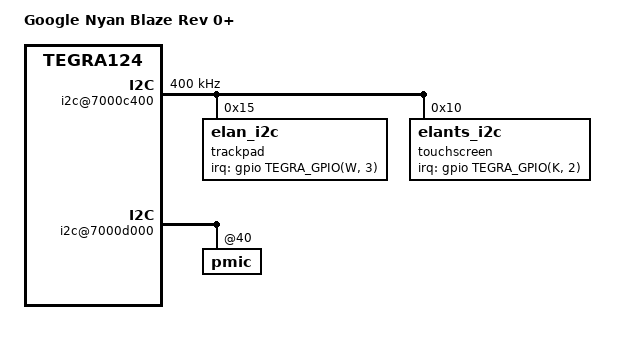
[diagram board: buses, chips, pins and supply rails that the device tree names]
/dts-v1/;

#include "tegra124.dtsi"
#include "tegra124-nyan.dtsi"
#include "tegra124-nyan-blaze-emc.dtsi"

/ {
	model = "Google Nyan Blaze Rev 0+";

	compatible = "google,nyan-blaze-rev5", "google,nyan-blaze-rev4",
			"google,nyan-blaze-rev3", "google,nyan-blaze-rev2",
			"google,nyan-blaze-rev1", "google,nyan-blaze-rev0",
			"google,nyan", "nvidia,tegra124";

	host1x@50000000 {
		dc@54200000 {
			depth = <18>;
			width = <256>;
			height = <144>;
			power-off-time = <500>;
			pwm-to-bl-on = <10>;
			bl-off-to-pwm = <10>;
			drive-current = <0x19191919>;
			preemphasis = <0x09090909>;
		};
	};

	pinmux {
		pinmux@0 {
			hp_det_l {
				nvidia,pins = "pi7";
				nvidia,function = "rsvd1";
				nvidia,pull = <TEGRA_PIN_PULL_NONE>;
				nvidia,tristate = <TEGRA_PIN_DISABLE>;
				nvidia,enable-input = <TEGRA_PIN_ENABLE>;
			};
			soc_warm_reset_l {
				nvidia,pins = "pi5";
				nvidia,function = "gmi";
				nvidia,pull = <TEGRA_PIN_PULL_UP>;
				nvidia,tristate = <TEGRA_PIN_DISABLE>;
				nvidia,enable-input = <TEGRA_PIN_DISABLE>;
			};
			modem_en {
				nvidia,pins = "kb_row12_ps4";
				nvidia,function = "rsvd2";
				nvidia,pull = <TEGRA_PIN_PULL_UP>;
				nvidia,tristate = <TEGRA_PIN_DISABLE>;
				nvidia,enable-input = <TEGRA_PIN_DISABLE>;
			};
			modem_reset {
				nvidia,pins = "kb_row11_ps3";
				nvidia,function = "rsvd2";
				nvidia,pull = <TEGRA_PIN_PULL_UP>;
				nvidia,tristate = <TEGRA_PIN_DISABLE>;
				nvidia,enable-input = <TEGRA_PIN_DISABLE>;
			};
		};
	};

	i2c@7000c400 {
		clock-frequency = <400000>;

		trackpad@15 {
			compatible = "elan_i2c";
			reg = <0x15>;
			interrupt-parent = <&gpio>;
			interrupts = <TEGRA_GPIO(W, 3) GPIO_ACTIVE_HIGH>;
			nvidia,pmc-wakeup = <&pmc 1 11 2>;
			wakeup-source;
		};
		touchscreen {
			compatible = "elants_i2c";
			reg = <0x10>;
			interrupt-parent = <&gpio>;
			interrupts = <TEGRA_GPIO(K, 2) GPIO_ACTIVE_HIGH>;
		};
	};

	i2c@7000d000 {
		pmic@40 {
			ams,sd6-adc-ch = <AS3722_TEMP1_SD6>;
			pinctrl@0 {
				gpio6 {
					pins = "gpio6";
					function = "clk32k-out";
					bias-pull-down;
				};
			};
		};
	};

	phy@7009f000 {
		nvidia,xusb-hs-xcvr-setup-offset = <0x020004>;
	};

	sdhci@700b0000 {
		trim-delay = <0x2>;
		calib-3v3-offsets = <0x7676>;
		calib-1v8-offsets = <0x7676>;
		calib-1v8-offsets-uhs-modes = <0x2f>;
		max-frequency = <204000000>;
	};

	sdhci@700b0400 {
		cd-inverted;
		trim-delay = <0x3>;
		calib-3v3-offsets = <0x7676>;
		calib-1v8-offsets = <0x7676>;
		calib-1v8-offsets-uhs-modes = <0x2f>;
		max-frequency = <204000000>;
	};

	sdhci@700b0600 {
		trim-delay = <0x4>;
		ddr-trim-delay = <0x4>;
		calib-3v3-offsets = <0x0202>;
		calib-1v8-offsets = <0x0202>;
		calib-1v8-offsets-uhs-modes = <0x2f>;
		max-frequency = <200000000>;
	};

	pmc {
		nvidia,reset-gpio = <&gpio TEGRA_GPIO(I, 5) GPIO_ACTIVE_LOW>;
	};

	sound {
		nvidia,hp-det-gpios = <&gpio TEGRA_GPIO(I, 7) GPIO_ACTIVE_HIGH>;
		nvidia,mic-det-gpios = <&gpio TEGRA_GPIO(R, 7)
							GPIO_ACTIVE_HIGH>;
	};

	skin_temp: therm-est {
		compatible = "nvidia,tegra124-therm-est";
		toffset = <9793>;
		tc1 = <10>;
		tc2 = <1>;
		polling-period = <1100>;

		#thermal-sensor-cells = <0>;

		sub-devs {
			dev@0 {
				dev = <&diode_thermal_sensor>;
				coeffs = "2 1 1 1 1 1 1 1 1 1 1 0 1 1 0 0 0 0 -1 -7";
			};

			dev@1 {
				dev = <&board_thermal_sensor>;
				coeffs = "-11 -7 -5 -3 -3 -2 -1 0 0 0 1 1 1 2 2 3 4 6 11 18";
			};
		};
	};

	thermal-zones {
		skin-therm {
			polling-delay-passive = <15000>; /* milliseconds */
			polling-delay = <0>; /* milliseconds */

			thermal-sensors = <&skin_temp>;

			trips {
				balance_trip0: balance_trip {
					temperature = <45000>; /* millicelsius */
					hysteresis = <0>; /* millicelsius */
					type = "passive";
				};
			};

			cooling-maps {
				map0 {
					trip = <&balance_trip0>;
					cooling-device = <&throttle0 THERMAL_NO_LIMIT THERMAL_NO_LIMIT>;
				};
			};
		};
		as3722-cpu-therm {
			polling-delay-passive = <25>; /* milliseconds */
			polling-delay = <0>; /* milliseconds */
			thermal-sensors = <&ams3722 AS3722_SD0_SENSOR>;

			trips {
				balance_trip1: balance_trip {
					temperature = <110000>; /* millicelsius */
					hysteresis = <0>; /* millicelsius */
					type = "passive";
				};
			};

			cooling-maps {
				map0 {
					trip = <&balance_trip1>;
					cooling-device = <&throttle0 THERMAL_NO_LIMIT THERMAL_NO_LIMIT>;
				};
			};
		};
		as3722-core-therm {
			polling-delay-passive = <25>; /* milliseconds */
			polling-delay = <0>; /* milliseconds */
			thermal-sensors = <&ams3722 AS3722_SD1_SENSOR>;

			trips {
				balance_trip2: balance_trip {
					temperature = <110000>; /* millicelsius */
					hysteresis = <0>; /* millicelsius */
					type = "passive";
				};
			};

			cooling-maps {
				map0 {
					trip = <&balance_trip2>;
					cooling-device = <&throttle0 THERMAL_NO_LIMIT THERMAL_NO_LIMIT>;
				};
			};
		};
		as3722-gpu-therm {
			polling-delay-passive = <25>; /* milliseconds */
			polling-delay = <0>; /* milliseconds */
			thermal-sensors = <&ams3722 AS3722_SD6_SENSOR>;

			trips {
				balance_trip3: balance_trip {
					temperature = <110000>; /* millicelsius */
					hysteresis = <0>; /* millicelsius */
					type = "passive";
				};
			};

			cooling-maps {
				map0 {
					trip = <&balance_trip3>;
					cooling-device = <&throttle0 THERMAL_NO_LIMIT THERMAL_NO_LIMIT>;
				};
			};
		};
	};
};
